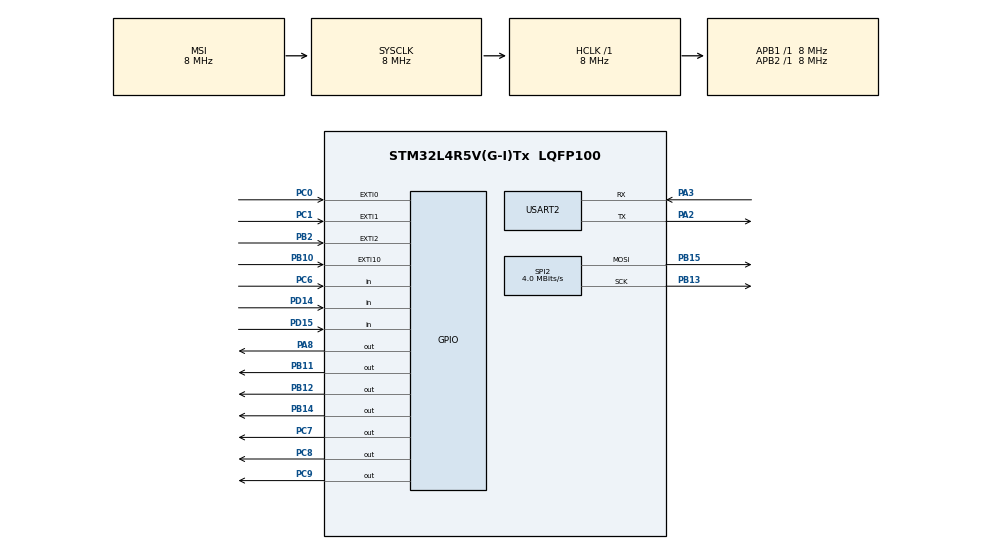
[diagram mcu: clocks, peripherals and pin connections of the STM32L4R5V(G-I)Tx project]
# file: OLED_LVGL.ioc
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Dma.Request0=USART2_RX
Dma.USART2_RX.0.Direction=DMA_PERIPH_TO_MEMORY
Dma.USART2_RX.0.EventEnable=DISABLE
Dma.USART2_RX.0.Instance=DMA1_Channel1
Dma.USART2_RX.0.MemDataAlignment=DMA_MDATAALIGN_BYTE
Dma.USART2_RX.0.MemInc=DMA_MINC_ENABLE
Dma.USART2_RX.0.Mode=DMA_CIRCULAR
Dma.USART2_RX.0.PeriphDataAlignment=DMA_PDATAALIGN_BYTE
Dma.USART2_RX.0.PeriphInc=DMA_PINC_DISABLE
Dma.USART2_RX.0.Polarity=HAL_DMAMUX_REQUEST_GEN_RISING
Dma.USART2_RX.0.Priority=DMA_PRIORITY_LOW
Dma.USART2_RX.0.RequestNumber=1
Dma.USART2_RX.0.SignalID=NONE
Dma.USART2_RX.0.SyncEnable=DISABLE
Dma.USART2_RX.0.SyncPolarity=HAL_DMAMUX_SYNC_NO_EVENT
Dma.USART2_RX.0.SyncRequestNumber=1
Dma.USART2_RX.0.SyncSignalID=NONE
Mcu.Family=STM32L4
Mcu.Name=STM32L4R5V(G-I)Tx
Mcu.Package=LQFP100
NVIC.DMA1_Channel1_IRQn=true\:0\:0\:false\:false\:true\:false\:true\:true
NVIC.EXTI0_IRQn=true\:0\:0\:false\:false\:true\:true\:true\:true
NVIC.EXTI15_10_IRQn=true\:0\:0\:false\:false\:true\:true\:true\:true
NVIC.EXTI1_IRQn=true\:0\:0\:false\:false\:true\:true\:true\:true
NVIC.EXTI2_IRQn=true\:0\:0\:false\:false\:true\:true\:true\:true
NVIC.PriorityGroup=NVIC_PRIORITYGROUP_4
NVIC.USART2_IRQn=true\:0\:0\:false\:false\:true\:true\:true\:true
PA13\ (JTMS/SWDIO).Mode=Serial_Wire
PA13\ (JTMS/SWDIO).Signal=SYS_JTMS-SWDIO
PA14\ (JTCK/SWCLK).Mode=Serial_Wire
PA14\ (JTCK/SWCLK).Signal=SYS_JTCK-SWCLK
PA2.Mode=Asynchronous
PA2.Signal=USART2_TX
PA3.Mode=Asynchronous
PA3.Signal=USART2_RX
PA8.Signal=GPIO_Output
PB10.GPIO_PuPd=GPIO_PULLDOWN
PB10.Signal=GPXTI10
PB11.Signal=GPIO_Output
PB12.Signal=GPIO_Output
PB13.Mode=TX_Only_Simplex_Unidirect_Master
PB13.Signal=SPI2_SCK
PB14.Signal=GPIO_Output
PB15.Mode=TX_Only_Simplex_Unidirect_Master
PB15.Signal=SPI2_MOSI
PB2.Signal=GPXTI2
PC0.GPIO_PuPd=GPIO_PULLDOWN
PC0.Signal=GPXTI0
PC1.GPIO_PuPd=GPIO_PULLDOWN
PC1.Signal=GPXTI1
PC6.Signal=GPIO_Input
PC7.Signal=GPIO_Output
PC8.Signal=GPIO_Output
PC9.Signal=GPIO_Output
PD14.Signal=GPIO_Input
PD15.Signal=GPIO_Input
PH0-OSC_IN\ (PH0).Mode=HSE-External-Oscillator
PH0-OSC_IN\ (PH0).Signal=RCC_OSC_IN
PH1-OSC_OUT\ (PH1).Mode=HSE-External-Oscillator
PH1-OSC_OUT\ (PH1).Signal=RCC_OSC_OUT
ProjectManager.HeapSize=0x200
ProjectManager.StackSize=0x400
ProjectManager.TargetToolchain=STM32CubeIDE
RCC.ADCFreq_Value=32000000
RCC.AHBFreq_Value=8000000
RCC.APB1Freq_Value=8000000
RCC.APB1TimFreq_Value=8000000
RCC.APB2Freq_Value=8000000
RCC.APB2TimFreq_Value=8000000
RCC.CortexFreq_Value=8000000
RCC.HCLKFreq_Value=8000000
RCC.HSE_VALUE=8000000
RCC.HSI48_VALUE=48000000
RCC.HSI_VALUE=16000000
RCC.LSE_VALUE=32768
RCC.MSIClockRange=RCC_MSIRANGE_7
RCC.MSI_VALUE=8000000
RCC.PLLSourceVirtual=RCC_PLLSOURCE_HSE
RCC.SYSCLKFreq_VALUE=8000000
RCC.USBFreq_Value=32000000
RCC.VCOOutputFreq_Value=64000000
SPI2.BaudRatePrescaler=SPI_BAUDRATEPRESCALER_2
SPI2.CalculateBaudRate=4.0 MBits/s
SPI2.DataSize=SPI_DATASIZE_8BIT
SPI2.Direction=SPI_DIRECTION_2LINES
SPI2.Mode=SPI_MODE_MASTER
SPI2.VirtualType=VM_MASTER
USART2.VirtualMode-Asynchronous=VM_ASYNC
board=custom

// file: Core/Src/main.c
/* USER CODE BEGIN Header */
/**
  ******************************************************************************
  * @file           : main.c
  * @brief          : Main program body
  ******************************************************************************
  * @attention
  *
  * Copyright (c) 2025 STMicroelectronics.
  * All rights reserved.
  *
  * This software is licensed under terms that can be found in the LICENSE file
  * in the root directory of this software component.
  * If no LICENSE file comes with this software, it is provided AS-IS.
  *
  ******************************************************************************
  */
/* USER CODE END Header */
#include "main.h"

/* USER CODE BEGIN Includes */
//#include <stdint.h>
//#include <string.h>
//#include "lvgl.h"
//#include "LVGL_drivers.h"
//#include "Display_drivers.h"
//#include "ui.h"
#include "menu.h"
#include <stdbool.h>
/* USER CODE END Includes */

/* USER CODE BEGIN PD */
//#define NUM_NEARBY = 10;
/* USER CODE END PD */

SPI_HandleTypeDef hspi2;

UART_HandleTypeDef huart2;
DMA_HandleTypeDef hdma_usart2_rx;

/* USER CODE BEGIN PV */
uint8_t packet_buffer[200];
static volatile bool rxReady = false;
static volatile uint16_t rxLen = 0;
/* USER CODE END PV */

void SystemClock_Config(void);
static void MX_GPIO_Init(void);
static void MX_DMA_Init(void);
static void MX_SPI2_Init(void);
static void MX_USART2_UART_Init(void);
/* USER CODE BEGIN PFP */
void HAL_UARTEx_RxEventCallback(UART_HandleTypeDef *huart, uint16_t Size){
	rxLen = Size;
	rxReady = true;
	HAL_UARTEx_ReceiveToIdle_DMA(&huart2, packet_buffer, sizeof(packet_buffer));
}

void LoRa_init(void){
	//set address (100)
	uint8_t address[16] = "AT+ADDRESS=110\r\n";
	uint8_t ntwkID[16] = "AT+NETWORKID=3\r\n";
	uint8_t band[19] = "AT+BAND=915000000\r\n";
	uint8_t param[23] = "AT+PARAMETER=12,7,1,4\r\n";
	uint8_t baud[9] = "AT+IPR=115200\r\n";
	uint8_t compare[] = "+OK\r\n";
	HAL_UARTEx_ReceiveToIdle_DMA(&huart2, packet_buffer, sizeof(packet_buffer));

	// HAL_UART_Transmit(&huart2, baud, sizeof(baud), 100);
	// while(!rxReady);
	// rxReady = 0;
	// HAL_Delay(500);
	// HAL_Delay(500);

	HAL_UART_Transmit(&huart2, address, sizeof(address), 100);
	while(!rxReady);
	rxReady = 0;
	HAL_Delay(500);
	//set networkID (3) (needs to be same for both)
	HAL_UART_Transmit(&huart2, ntwkID, sizeof(ntwkID), 100);
	while(!rxReady);
	rxReady = 0;
	HAL_Delay(500);

	// HAL_Delay(200);
	// OLED_SendString(buffer);
	//set band (9.15*10^9 Hz, must be same for both (this is default))
	HAL_UART_Transmit(&huart2, band, sizeof(band), 100);
	while(!rxReady);
	rxReady = 0;
	HAL_Delay(500);

	// OLED_SendString(buffer);
	//set spreading factor, bandwidth, coding rate, and programmed preamble
	HAL_UART_Transmit(&huart2, param, sizeof(param), 100);
	while(!rxReady);
	rxReady = 0;
	HAL_Delay(500);
}
/* USER CODE END PFP */

/* USER CODE BEGIN 0 */
//uint8_t packet_buffer[200];
//static volatile bool rxReady = false;
//static volatile uint16_t rxLen = 0;
/* USER CODE END 0 */

int main(void)
{

  /* MCU Configuration--------------------------------------------------------*/

  /* Reset of all peripherals, Initializes the Flash interface and the Systick. */
  HAL_Init();

  /* Configure the system clock */
  SystemClock_Config();

  /* USER CODE BEGIN SysInit */
  HAL_Delay(1000);

  /* USER CODE END SysInit */

  /* Initialize all configured peripherals */
  MX_GPIO_Init();
  MX_DMA_Init();
  MX_SPI2_Init();
  MX_USART2_UART_Init();
  /* USER CODE BEGIN 2 */

  lv_init();
  lv_port_disp_init();
  ui_init();

  Beacon nearby_beacons[NUM_NEARBY];
  for(int i = 0; i < 10; i++){
	  strcpy(nearby_beacons[i].name, "N/A");
  }

  OLED_Clear();

  LoRa_init();

  while(!rxReady);
  rxReady = 0;
  lv_label_set_text(ui_Label34, packet_buffer);
  switch_screen(ui_view_message);
  HAL_Delay(5000);

  while(1){
	  displayMenu(nearby_beacons);
  }

  /* USER CODE END 2 */

  /* Infinite loop */
  /* USER CODE BEGIN WHILE */
  while (1)
  {
	 uint8_t message[21] = "AT+SEND=110,5,HELLO\r\n";
	 HAL_UART_Transmit(&huart2, message, sizeof(message), 100);
    /* USER CODE END WHILE */

    /* USER CODE BEGIN 3 */
	  HAL_Delay(5000);
  }
  /* USER CODE END 3 */
}

void SystemClock_Config(void)
{
  RCC_OscInitTypeDef RCC_OscInitStruct = {0};
  RCC_ClkInitTypeDef RCC_ClkInitStruct = {0};

  /** Configure the main internal regulator output voltage
  */
  if (HAL_PWREx_ControlVoltageScaling(PWR_REGULATOR_VOLTAGE_SCALE1) != HAL_OK)
  {
    Error_Handler();
  }

  /** Initializes the RCC Oscillators according to the specified parameters
  * in the RCC_OscInitTypeDef structure.
  */
  RCC_OscInitStruct.OscillatorType = RCC_OSCILLATORTYPE_MSI;
  RCC_OscInitStruct.MSIState = RCC_MSI_ON;
  RCC_OscInitStruct.MSICalibrationValue = 0;
  RCC_OscInitStruct.MSIClockRange = RCC_MSIRANGE_7;
  RCC_OscInitStruct.PLL.PLLState = RCC_PLL_NONE;
  if (HAL_RCC_OscConfig(&RCC_OscInitStruct) != HAL_OK)
  {
    Error_Handler();
  }

  /** Initializes the CPU, AHB and APB buses clocks
  */
  RCC_ClkInitStruct.ClockType = RCC_CLOCKTYPE_HCLK|RCC_CLOCKTYPE_SYSCLK
                              |RCC_CLOCKTYPE_PCLK1|RCC_CLOCKTYPE_PCLK2;
  RCC_ClkInitStruct.SYSCLKSource = RCC_SYSCLKSOURCE_MSI;
  RCC_ClkInitStruct.AHBCLKDivider = RCC_SYSCLK_DIV1;
  RCC_ClkInitStruct.APB1CLKDivider = RCC_HCLK_DIV1;
  RCC_ClkInitStruct.APB2CLKDivider = RCC_HCLK_DIV1;

  if (HAL_RCC_ClockConfig(&RCC_ClkInitStruct, FLASH_LATENCY_0) != HAL_OK)
  {
    Error_Handler();
  }
}

static void MX_SPI2_Init(void)
{

  /* SPI2 parameter configuration*/
  hspi2.Instance = SPI2;
  hspi2.Init.Mode = SPI_MODE_MASTER;
  hspi2.Init.Direction = SPI_DIRECTION_2LINES;
  hspi2.Init.DataSize = SPI_DATASIZE_8BIT;
  hspi2.Init.CLKPolarity = SPI_POLARITY_LOW;
  hspi2.Init.CLKPhase = SPI_PHASE_1EDGE;
  hspi2.Init.NSS = SPI_NSS_SOFT;
  hspi2.Init.BaudRatePrescaler = SPI_BAUDRATEPRESCALER_2;
  hspi2.Init.FirstBit = SPI_FIRSTBIT_MSB;
  hspi2.Init.TIMode = SPI_TIMODE_DISABLE;
  hspi2.Init.CRCCalculation = SPI_CRCCALCULATION_DISABLE;
  hspi2.Init.CRCPolynomial = 7;
  hspi2.Init.CRCLength = SPI_CRC_LENGTH_DATASIZE;
  hspi2.Init.NSSPMode = SPI_NSS_PULSE_ENABLE;
  if (HAL_SPI_Init(&hspi2) != HAL_OK)
  {
    Error_Handler();
  }

}

static void MX_USART2_UART_Init(void)
{

  huart2.Instance = USART2;
  huart2.Init.BaudRate = 115200;
  huart2.Init.WordLength = UART_WORDLENGTH_8B;
  huart2.Init.StopBits = UART_STOPBITS_1;
  huart2.Init.Parity = UART_PARITY_NONE;
  huart2.Init.Mode = UART_MODE_TX_RX;
  huart2.Init.HwFlowCtl = UART_HWCONTROL_NONE;
  huart2.Init.OverSampling = UART_OVERSAMPLING_16;
  huart2.Init.OneBitSampling = UART_ONE_BIT_SAMPLE_DISABLE;
  huart2.Init.ClockPrescaler = UART_PRESCALER_DIV1;
  huart2.AdvancedInit.AdvFeatureInit = UART_ADVFEATURE_NO_INIT;
  if (HAL_UART_Init(&huart2) != HAL_OK)
  {
    Error_Handler();
  }
  if (HAL_UARTEx_SetTxFifoThreshold(&huart2, UART_TXFIFO_THRESHOLD_1_8) != HAL_OK)
  {
    Error_Handler();
  }
  if (HAL_UARTEx_SetRxFifoThreshold(&huart2, UART_RXFIFO_THRESHOLD_1_8) != HAL_OK)
  {
    Error_Handler();
  }
  if (HAL_UARTEx_DisableFifoMode(&huart2) != HAL_OK)
  {
    Error_Handler();
  }

}

static void MX_DMA_Init(void)
{

  /* DMA controller clock enable */
  __HAL_RCC_DMAMUX1_CLK_ENABLE();
  __HAL_RCC_DMA1_CLK_ENABLE();

  /* DMA interrupt init */
  /* DMA1_Channel1_IRQn interrupt configuration */
  HAL_NVIC_SetPriority(DMA1_Channel1_IRQn, 0, 0);
  HAL_NVIC_EnableIRQ(DMA1_Channel1_IRQn);

}

static void MX_GPIO_Init(void)
{
  GPIO_InitTypeDef GPIO_InitStruct = {0};

  /* GPIO Ports Clock Enable */
  __HAL_RCC_GPIOH_CLK_ENABLE();
  __HAL_RCC_GPIOC_CLK_ENABLE();
  __HAL_RCC_GPIOA_CLK_ENABLE();
  __HAL_RCC_GPIOB_CLK_ENABLE();
  __HAL_RCC_GPIOD_CLK_ENABLE();

  /*Configure GPIO pin Output Level */
  HAL_GPIO_WritePin(GPIOB, GPIO_PIN_11|GPIO_PIN_12|GPIO_PIN_14, GPIO_PIN_RESET);

  /*Configure GPIO pin Output Level */
  HAL_GPIO_WritePin(GPIOC, GPIO_PIN_7|GPIO_PIN_8|GPIO_PIN_9, GPIO_PIN_RESET);

  /*Configure GPIO pin Output Level */
  HAL_GPIO_WritePin(GPIOA, GPIO_PIN_8, GPIO_PIN_RESET);

  /*Configure GPIO pins : PC0 PC1 */
  GPIO_InitStruct.Pin = GPIO_PIN_0|GPIO_PIN_1;
  GPIO_InitStruct.Mode = GPIO_MODE_IT_RISING;
  GPIO_InitStruct.Pull = GPIO_PULLDOWN;
  HAL_GPIO_Init(GPIOC, &GPIO_InitStruct);

  /*Configure GPIO pin : PB2 */
  GPIO_InitStruct.Pin = GPIO_PIN_2;
  GPIO_InitStruct.Mode = GPIO_MODE_IT_RISING;
  GPIO_InitStruct.Pull = GPIO_NOPULL;
  HAL_GPIO_Init(GPIOB, &GPIO_InitStruct);

  /*Configure GPIO pin : PB10 */
  GPIO_InitStruct.Pin = GPIO_PIN_10;
  GPIO_InitStruct.Mode = GPIO_MODE_IT_RISING;
  GPIO_InitStruct.Pull = GPIO_PULLDOWN;
  HAL_GPIO_Init(GPIOB, &GPIO_InitStruct);

  /*Configure GPIO pins : PB11 PB12 PB14 */
  GPIO_InitStruct.Pin = GPIO_PIN_11|GPIO_PIN_12|GPIO_PIN_14;
  GPIO_InitStruct.Mode = GPIO_MODE_OUTPUT_PP;
  GPIO_InitStruct.Pull = GPIO_NOPULL;
  GPIO_InitStruct.Speed = GPIO_SPEED_FREQ_LOW;
  HAL_GPIO_Init(GPIOB, &GPIO_InitStruct);

  /*Configure GPIO pins : PD14 PD15 */
  GPIO_InitStruct.Pin = GPIO_PIN_14|GPIO_PIN_15;
  GPIO_InitStruct.Mode = GPIO_MODE_INPUT;
  GPIO_InitStruct.Pull = GPIO_NOPULL;
  HAL_GPIO_Init(GPIOD, &GPIO_InitStruct);

  /*Configure GPIO pin : PC6 */
  GPIO_InitStruct.Pin = GPIO_PIN_6;
  GPIO_InitStruct.Mode = GPIO_MODE_INPUT;
  GPIO_InitStruct.Pull = GPIO_NOPULL;
  HAL_GPIO_Init(GPIOC, &GPIO_InitStruct);

  /*Configure GPIO pins : PC7 PC8 PC9 */
  GPIO_InitStruct.Pin = GPIO_PIN_7|GPIO_PIN_8|GPIO_PIN_9;
  GPIO_InitStruct.Mode = GPIO_MODE_OUTPUT_PP;
  GPIO_InitStruct.Pull = GPIO_NOPULL;
  GPIO_InitStruct.Speed = GPIO_SPEED_FREQ_LOW;
  HAL_GPIO_Init(GPIOC, &GPIO_InitStruct);

  /*Configure GPIO pin : PA8 */
  GPIO_InitStruct.Pin = GPIO_PIN_8;
  GPIO_InitStruct.Mode = GPIO_MODE_OUTPUT_PP;
  GPIO_InitStruct.Pull = GPIO_NOPULL;
  GPIO_InitStruct.Speed = GPIO_SPEED_FREQ_LOW;
  HAL_GPIO_Init(GPIOA, &GPIO_InitStruct);

  /* EXTI interrupt init*/
  HAL_NVIC_SetPriority(EXTI0_IRQn, 0, 0);
  HAL_NVIC_EnableIRQ(EXTI0_IRQn);

  HAL_NVIC_SetPriority(EXTI1_IRQn, 0, 0);
  HAL_NVIC_EnableIRQ(EXTI1_IRQn);

  HAL_NVIC_SetPriority(EXTI2_IRQn, 0, 0);
  HAL_NVIC_EnableIRQ(EXTI2_IRQn);

  HAL_NVIC_SetPriority(EXTI15_10_IRQn, 0, 0);
  HAL_NVIC_EnableIRQ(EXTI15_10_IRQn);

}

/* USER CODE BEGIN 4 */
//void HAL_UARTEx_RxEventCallback(UART_HandleTypeDef *huart, uint16_t Size){
//rxLen = Size;
//rxReady = true;
//HAL_UARTEx_ReceiveToIdle_DMA(&huart2, packet_buffer, sizeof(packet_buffer));
//}
//
//void LoRa_init(void){
//	//set address (100)
//	uint8_t address[16] = "AT+ADDRESS=110\r\n";
//	uint8_t ntwkID[16] = "AT+NETWORKID=3\r\n";
//	uint8_t band[19] = "AT+BAND=915000000\r\n";
//	uint8_t param[23] = "AT+PARAMETER=12,7,1,4\r\n";
//	uint8_t baud[9] = "AT+IPR=115200\r\n";
//	uint8_t compare[] = "+OK\r\n";
//	HAL_UARTEx_ReceiveToIdle_DMA(&huart2, packet_buffer, sizeof(packet_buffer));
//
//	// HAL_UART_Transmit(&huart2, baud, sizeof(baud), 100);
//	// while(!rxReady);
//	// rxReady = 0;
//	// HAL_Delay(500);
//	// HAL_Delay(500);
//
//	HAL_UART_Transmit(&huart2, address, sizeof(address), 100);
//	while(!rxReady);
//	rxReady = 0;
//	HAL_Delay(500);
//	//set networkID (3) (needs to be same for both)
//	HAL_UART_Transmit(&huart2, ntwkID, sizeof(ntwkID), 100);
//	while(!rxReady);
//	rxReady = 0;
//	HAL_Delay(500);
//
//	// HAL_Delay(200);
//	// OLED_SendString(buffer);
//	//set band (9.15*10^9 Hz, must be same for both (this is default))
//	HAL_UART_Transmit(&huart2, band, sizeof(band), 100);
//	while(!rxReady);
//	rxReady = 0;
//	HAL_Delay(500);
//
//
//	// OLED_SendString(buffer);
//	//set spreading factor, bandwidth, coding rate, and programmed preamble
//	HAL_UART_Transmit(&huart2, param, sizeof(param), 100);
//	while(!rxReady);
//	rxReady = 0;
//	HAL_Delay(500);
//}

// uint8_t message[21] = "AT+SEND=110,5,HELLO\r\n";
// HAL_UART_Transmit(&huart2, message, sizeof(message), 100);
/* USER CODE END 4 */

void Error_Handler(void)
{
  __disable_irq();
  while (1)
  {
  }
}
